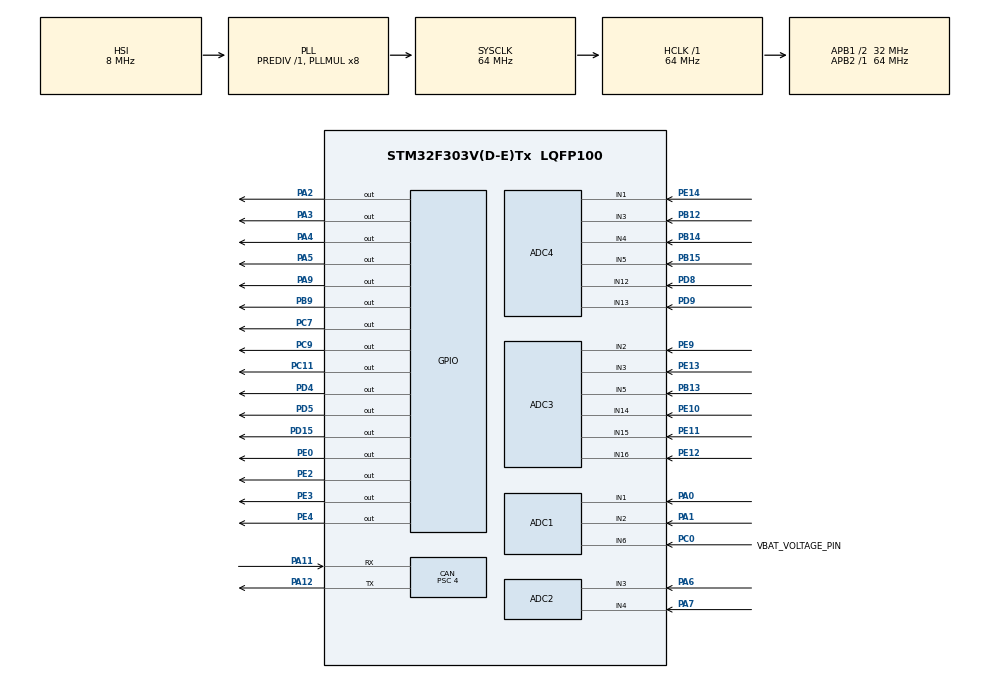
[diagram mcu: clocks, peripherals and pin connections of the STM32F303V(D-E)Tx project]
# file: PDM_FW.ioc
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ADC1.Channel-0\#ChannelRegularConversion=ADC_CHANNEL_1
ADC1.Channel-1\#ChannelRegularConversion=ADC_CHANNEL_2
ADC1.Channel-2\#ChannelRegularConversion=ADC_CHANNEL_6
ADC1.Channel-3\#ChannelRegularConversion=ADC_CHANNEL_TEMPSENSOR
ADC1.ClockPrescaler=ADC_CLOCK_SYNC_PCLK_DIV4
ADC1.ContinuousConvMode=ENABLE
ADC1.DMAContinuousRequests=ENABLE
ADC1.EnableInjectedConversion=DISABLE
ADC1.NbrOfConversion=4
ADC1.NbrOfConversionFlag=1
ADC1.Offset-0\#ChannelRegularConversion=0
ADC1.Offset-1\#ChannelRegularConversion=0
ADC1.Offset-2\#ChannelRegularConversion=0
ADC1.Offset-3\#ChannelRegularConversion=0
ADC1.OffsetNumber-0\#ChannelRegularConversion=ADC_OFFSET_NONE
ADC1.OffsetNumber-1\#ChannelRegularConversion=ADC_OFFSET_NONE
ADC1.OffsetNumber-2\#ChannelRegularConversion=ADC_OFFSET_NONE
ADC1.OffsetNumber-3\#ChannelRegularConversion=ADC_OFFSET_NONE
ADC1.Rank-0\#ChannelRegularConversion=1
ADC1.Rank-1\#ChannelRegularConversion=2
ADC1.Rank-2\#ChannelRegularConversion=3
ADC1.Rank-3\#ChannelRegularConversion=4
ADC1.SamplingTime-0\#ChannelRegularConversion=ADC_SAMPLETIME_601CYCLES_5
ADC1.SamplingTime-1\#ChannelRegularConversion=ADC_SAMPLETIME_601CYCLES_5
ADC1.SamplingTime-2\#ChannelRegularConversion=ADC_SAMPLETIME_601CYCLES_5
ADC1.SamplingTime-3\#ChannelRegularConversion=ADC_SAMPLETIME_601CYCLES_5
ADC1.master=1
ADC2.Channel-0\#ChannelRegularConversion=ADC_CHANNEL_3
ADC2.Channel-1\#ChannelRegularConversion=ADC_CHANNEL_4
ADC2.ClockPrescaler=ADC_CLOCK_SYNC_PCLK_DIV4
ADC2.ContinuousConvMode=ENABLE
ADC2.DMAContinuousRequests=ENABLE
ADC2.EnableInjectedConversion=DISABLE
ADC2.NbrOfConversion=2
ADC2.NbrOfConversionFlag=1
ADC2.Offset-0\#ChannelRegularConversion=0
ADC2.Offset-1\#ChannelRegularConversion=0
ADC2.OffsetNumber-0\#ChannelRegularConversion=ADC_OFFSET_NONE
ADC2.OffsetNumber-1\#ChannelRegularConversion=ADC_OFFSET_NONE
ADC2.Rank-0\#ChannelRegularConversion=1
ADC2.Rank-1\#ChannelRegularConversion=2
ADC2.SamplingTime-0\#ChannelRegularConversion=ADC_SAMPLETIME_601CYCLES_5
ADC2.SamplingTime-1\#ChannelRegularConversion=ADC_SAMPLETIME_601CYCLES_5
ADC3.Channel-0\#ChannelRegularConversion=ADC_CHANNEL_2
ADC3.Channel-1\#ChannelRegularConversion=ADC_CHANNEL_3
ADC3.Channel-2\#ChannelRegularConversion=ADC_CHANNEL_2
ADC3.Channel-3\#ChannelRegularConversion=ADC_CHANNEL_2
ADC3.Channel-4\#ChannelRegularConversion=ADC_CHANNEL_2
ADC3.Channel-5\#ChannelRegularConversion=ADC_CHANNEL_2
ADC3.ClockPrescaler=ADC_CLOCK_SYNC_PCLK_DIV4
ADC3.ContinuousConvMode=ENABLE
ADC3.DMAContinuousRequests=ENABLE
ADC3.EnableInjectedConversion=DISABLE
ADC3.NbrOfConversion=6
ADC3.NbrOfConversionFlag=1
ADC3.Offset-0\#ChannelRegularConversion=0
ADC3.Offset-1\#ChannelRegularConversion=0
ADC3.Offset-2\#ChannelRegularConversion=0
ADC3.Offset-3\#ChannelRegularConversion=0
ADC3.Offset-4\#ChannelRegularConversion=0
ADC3.Offset-5\#ChannelRegularConversion=0
ADC3.OffsetNumber-0\#ChannelRegularConversion=ADC_OFFSET_NONE
ADC3.OffsetNumber-1\#ChannelRegularConversion=ADC_OFFSET_NONE
ADC3.OffsetNumber-2\#ChannelRegularConversion=ADC_OFFSET_NONE
ADC3.OffsetNumber-3\#ChannelRegularConversion=ADC_OFFSET_NONE
ADC3.OffsetNumber-4\#ChannelRegularConversion=ADC_OFFSET_NONE
ADC3.OffsetNumber-5\#ChannelRegularConversion=ADC_OFFSET_NONE
ADC3.Rank-0\#ChannelRegularConversion=1
ADC3.Rank-1\#ChannelRegularConversion=2
ADC3.Rank-2\#ChannelRegularConversion=3
ADC3.Rank-3\#ChannelRegularConversion=4
ADC3.Rank-4\#ChannelRegularConversion=5
ADC3.Rank-5\#ChannelRegularConversion=6
ADC3.SamplingTime-0\#ChannelRegularConversion=ADC_SAMPLETIME_601CYCLES_5
ADC3.SamplingTime-1\#ChannelRegularConversion=ADC_SAMPLETIME_601CYCLES_5
ADC3.SamplingTime-2\#ChannelRegularConversion=ADC_SAMPLETIME_601CYCLES_5
ADC3.SamplingTime-3\#ChannelRegularConversion=ADC_SAMPLETIME_601CYCLES_5
ADC3.SamplingTime-4\#ChannelRegularConversion=ADC_SAMPLETIME_601CYCLES_5
ADC3.SamplingTime-5\#ChannelRegularConversion=ADC_SAMPLETIME_601CYCLES_5
ADC3.master=1
ADC4.Channel-0\#ChannelRegularConversion=ADC_CHANNEL_1
ADC4.Channel-1\#ChannelRegularConversion=ADC_CHANNEL_3
ADC4.Channel-2\#ChannelRegularConversion=ADC_CHANNEL_4
ADC4.Channel-3\#ChannelRegularConversion=ADC_CHANNEL_5
ADC4.Channel-4\#ChannelRegularConversion=ADC_CHANNEL_12
ADC4.Channel-5\#ChannelRegularConversion=ADC_CHANNEL_13
ADC4.ClockPrescaler=ADC_CLOCK_SYNC_PCLK_DIV4
ADC4.ContinuousConvMode=ENABLE
ADC4.DMAContinuousRequests=ENABLE
ADC4.EnableInjectedConversion=DISABLE
ADC4.NbrOfConversion=6
ADC4.NbrOfConversionFlag=1
ADC4.Offset-0\#ChannelRegularConversion=0
ADC4.Offset-1\#ChannelRegularConversion=0
ADC4.Offset-2\#ChannelRegularConversion=0
ADC4.Offset-3\#ChannelRegularConversion=0
ADC4.Offset-4\#ChannelRegularConversion=0
ADC4.Offset-5\#ChannelRegularConversion=0
ADC4.OffsetNumber-0\#ChannelRegularConversion=ADC_OFFSET_NONE
ADC4.OffsetNumber-1\#ChannelRegularConversion=ADC_OFFSET_NONE
ADC4.OffsetNumber-2\#ChannelRegularConversion=ADC_OFFSET_NONE
ADC4.OffsetNumber-3\#ChannelRegularConversion=ADC_OFFSET_NONE
ADC4.OffsetNumber-4\#ChannelRegularConversion=ADC_OFFSET_NONE
ADC4.OffsetNumber-5\#ChannelRegularConversion=ADC_OFFSET_NONE
ADC4.Rank-0\#ChannelRegularConversion=1
ADC4.Rank-1\#ChannelRegularConversion=2
ADC4.Rank-2\#ChannelRegularConversion=3
ADC4.Rank-3\#ChannelRegularConversion=4
ADC4.Rank-4\#ChannelRegularConversion=5
ADC4.Rank-5\#ChannelRegularConversion=6
ADC4.SamplingTime-0\#ChannelRegularConversion=ADC_SAMPLETIME_601CYCLES_5
ADC4.SamplingTime-1\#ChannelRegularConversion=ADC_SAMPLETIME_601CYCLES_5
ADC4.SamplingTime-2\#ChannelRegularConversion=ADC_SAMPLETIME_601CYCLES_5
ADC4.SamplingTime-3\#ChannelRegularConversion=ADC_SAMPLETIME_601CYCLES_5
ADC4.SamplingTime-4\#ChannelRegularConversion=ADC_SAMPLETIME_601CYCLES_5
ADC4.SamplingTime-5\#ChannelRegularConversion=ADC_SAMPLETIME_601CYCLES_5
CAN.BS1=CAN_BS1_13TQ
CAN.BS2=CAN_BS2_2TQ
CAN.CalculateTimeQuantum=125.0
CAN.Prescaler=4
Dma.ADC1.0.Direction=DMA_PERIPH_TO_MEMORY
Dma.ADC1.0.Instance=DMA1_Channel1
Dma.ADC1.0.MemDataAlignment=DMA_MDATAALIGN_HALFWORD
Dma.ADC1.0.MemInc=DMA_MINC_ENABLE
Dma.ADC1.0.Mode=DMA_CIRCULAR
Dma.ADC1.0.PeriphDataAlignment=DMA_PDATAALIGN_HALFWORD
Dma.ADC1.0.PeriphInc=DMA_PINC_DISABLE
Dma.ADC1.0.Priority=DMA_PRIORITY_LOW
Dma.ADC2.2.Direction=DMA_PERIPH_TO_MEMORY
Dma.ADC2.2.Instance=DMA2_Channel1
Dma.ADC2.2.MemDataAlignment=DMA_MDATAALIGN_HALFWORD
Dma.ADC2.2.MemInc=DMA_MINC_ENABLE
Dma.ADC2.2.Mode=DMA_CIRCULAR
Dma.ADC2.2.PeriphDataAlignment=DMA_PDATAALIGN_HALFWORD
Dma.ADC2.2.PeriphInc=DMA_PINC_DISABLE
Dma.ADC2.2.Priority=DMA_PRIORITY_LOW
Dma.ADC3.1.Direction=DMA_PERIPH_TO_MEMORY
Dma.ADC3.1.Instance=DMA2_Channel5
Dma.ADC3.1.MemDataAlignment=DMA_MDATAALIGN_HALFWORD
Dma.ADC3.1.MemInc=DMA_MINC_ENABLE
Dma.ADC3.1.Mode=DMA_CIRCULAR
Dma.ADC3.1.PeriphDataAlignment=DMA_PDATAALIGN_HALFWORD
Dma.ADC3.1.PeriphInc=DMA_PINC_DISABLE
Dma.ADC3.1.Priority=DMA_PRIORITY_LOW
Dma.ADC4.3.Direction=DMA_PERIPH_TO_MEMORY
Dma.ADC4.3.Instance=DMA2_Channel2
Dma.ADC4.3.MemDataAlignment=DMA_MDATAALIGN_HALFWORD
Dma.ADC4.3.MemInc=DMA_MINC_ENABLE
Dma.ADC4.3.Mode=DMA_CIRCULAR
Dma.ADC4.3.PeriphDataAlignment=DMA_PDATAALIGN_HALFWORD
Dma.ADC4.3.PeriphInc=DMA_PINC_DISABLE
Dma.ADC4.3.Priority=DMA_PRIORITY_LOW
Dma.Request0=ADC1
Dma.Request1=ADC3
Dma.Request2=ADC2
Dma.Request3=ADC4
FREERTOS.INCLUDE_vTaskDelayUntil=1
FREERTOS.Tasks01=measurementTask,0,128,StartMeasurementTask,Default,NULL,Dynamic,NULL,NULL;fuseTask,0,128,StartFuseTask,Default,NULL,Dynamic,NULL,NULL;testTask,-3,128,StartTestTask,Default,NULL,Dynamic,NULL,NULL
FREERTOS.configTOTAL_HEAP_SIZE=16384
FREERTOS.configUSE_TIMERS=1
Mcu.Family=STM32F3
Mcu.Name=STM32F303V(D-E)Tx
Mcu.Package=LQFP100
NVIC.DMA1_Channel1_IRQn=true\:5\:0\:false\:false\:true\:true\:true\:true
NVIC.DMA2_Channel1_IRQn=true\:5\:0\:false\:false\:true\:true\:true\:true
NVIC.DMA2_Channel2_IRQn=true\:5\:0\:false\:false\:true\:true\:true\:true
NVIC.DMA2_Channel5_IRQn=true\:5\:0\:false\:false\:true\:true\:true\:true
NVIC.PriorityGroup=NVIC_PRIORITYGROUP_4
NVIC.TIM1_UP_TIM16_IRQn=true\:0\:0\:false\:false\:true\:false\:false\:false
NVIC.TimeBase=TIM1_UP_TIM16_IRQn
NVIC.TimeBaseIP=TIM1
PA0.Mode=IN1-Single-Ended
PA0.Signal=ADC1_IN1
PA1.Mode=IN2-Single-Ended
PA1.Signal=ADC1_IN2
PA11.Mode=Master
PA11.Signal=CAN_RX
PA12.Mode=Master
PA12.Signal=CAN_TX
PA13.Mode=Trace_Asynchronous_SW
PA13.Signal=SYS_JTMS-SWDIO
PA14.Mode=Trace_Asynchronous_SW
PA14.Signal=SYS_JTCK-SWCLK
PA2.Signal=GPIO_Output
PA3.Signal=GPIO_Output
PA4.Signal=GPIO_Output
PA5.Signal=GPIO_Output
PA6.Mode=IN3-Single-Ended
PA6.Signal=ADC2_IN3
PA7.Mode=IN4-Single-Ended
PA7.Signal=ADC2_IN4
PA9.Signal=GPIO_Output
PB12.Mode=IN3-Single-Ended
PB12.Signal=ADC4_IN3
PB13.Mode=IN5-Single-Ended
PB13.Signal=ADC3_IN5
PB14.Mode=IN4-Single-Ended
PB14.Signal=ADC4_IN4
PB15.Mode=IN5-Single-Ended
PB15.Signal=ADC4_IN5
PB3.Mode=Trace_Asynchronous_SW
PB3.Signal=SYS_JTDO-TRACESWO
PB9.Signal=GPIO_Output
PC0.GPIO_Label=VBAT_VOLTAGE_PIN
PC0.Signal=ADCx_IN6
PC11.Signal=GPIO_Output
PC14-OSC32_IN.Mode=LSE-External-Oscillator
PC14-OSC32_IN.Signal=RCC_OSC32_IN
PC15-OSC32_OUT.Mode=LSE-External-Oscillator
PC15-OSC32_OUT.Signal=RCC_OSC32_OUT
PC7.Signal=GPIO_Output
PC9.Signal=GPIO_Output
PD15.Signal=GPIO_Output
PD4.Signal=GPIO_Output
PD5.Signal=GPIO_Output
PD8.Mode=IN12-Single-Ended
PD8.Signal=ADC4_IN12
PD9.Mode=IN13-Single-Ended
PD9.Signal=ADC4_IN13
PE0.Signal=GPIO_Output
PE10.Mode=IN14-Single-Ended
PE10.Signal=ADC3_IN14
PE11.Mode=IN15-Single-Ended
PE11.Signal=ADC3_IN15
PE12.Mode=IN16-Single-Ended
PE12.Signal=ADC3_IN16
PE13.Mode=IN3-Single-Ended
PE13.Signal=ADC3_IN3
PE14.Mode=IN1-Single-Ended
PE14.Signal=ADC4_IN1
PE2.Signal=GPIO_Output
PE3.Signal=GPIO_Output
PE4.Signal=GPIO_Output
PE9.Mode=IN2-Single-Ended
PE9.Signal=ADC3_IN2
PF0-OSC_IN.Mode=HSE-External-Oscillator
PF0-OSC_IN.Signal=RCC_OSC_IN
PF1-OSC_OUT.Mode=HSE-External-Oscillator
PF1-OSC_OUT.Signal=RCC_OSC_OUT
ProjectManager.HeapSize=0x200
ProjectManager.StackSize=0x400
ProjectManager.TargetToolchain=TrueSTUDIO
RCC.AHBFreq_Value=64000000
RCC.APB1CLKDivider=RCC_HCLK_DIV2
RCC.APB1Freq_Value=32000000
RCC.APB1TimFreq_Value=64000000
RCC.APB2Freq_Value=64000000
RCC.APB2TimFreq_Value=64000000
RCC.CortexFreq_Value=64000000
RCC.HCLKFreq_Value=64000000
RCC.HSE_VALUE=8000000
RCC.HSI_VALUE=8000000
RCC.PLLMUL=RCC_PLL_MUL8
RCC.SYSCLKFreq_VALUE=64000000
RCC.SYSCLKSourceVirtual=RCC_SYSCLKSOURCE_PLLCLK
RCC.USBFreq_Value=64000000
SH.ADCx_IN6.0=ADC1_IN6,IN6-Single-Ended
VP_ADC1_TempSens_Input.Mode=IN-TempSens
VP_FREERTOS_VS_ENABLE.Mode=Enabled
VP_SYS_VS_tim1.Mode=TIM1
board=custom

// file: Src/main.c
/* USER CODE BEGIN Header */
/**
  ******************************************************************************
  * @file           : main.c
  * @brief          : Main program body
  ******************************************************************************
  ** This notice applies to any and all portions of this file
  * that are not between comment pairs USER CODE BEGIN and
  * USER CODE END. Other portions of this file, whether
  * inserted by the user or by software development tools
  * are owned by their respective copyright owners.
  *
  * COPYRIGHT(c) 2019 STMicroelectronics
  *
  * Redistribution and use in source and binary forms, with or without modification,
  * are permitted provided that the following conditions are met:
  *   1. Redistributions of source code must retain the above copyright notice,
  *      this list of conditions and the following disclaimer.
  *   2. Redistributions in binary form must reproduce the above copyright notice,
  *      this list of conditions and the following disclaimer in the documentation
  *      and/or other materials provided with the distribution.
  *   3. Neither the name of STMicroelectronics nor the names of its contributors
  *      may be used to endorse or promote products derived from this software
  *      without specific prior written permission.
  *
  * THIS SOFTWARE IS PROVIDED BY THE COPYRIGHT HOLDERS AND CONTRIBUTORS "AS IS"
  * AND ANY EXPRESS OR IMPLIED WARRANTIES, INCLUDING, BUT NOT LIMITED TO, THE
  * IMPLIED WARRANTIES OF MERCHANTABILITY AND FITNESS FOR A PARTICULAR PURPOSE ARE
  * DISCLAIMED. IN NO EVENT SHALL THE COPYRIGHT HOLDER OR CONTRIBUTORS BE LIABLE
  * FOR ANY DIRECT, INDIRECT, INCIDENTAL, SPECIAL, EXEMPLARY, OR CONSEQUENTIAL
  * DAMAGES (INCLUDING, BUT NOT LIMITED TO, PROCUREMENT OF SUBSTITUTE GOODS OR
  * SERVICES; LOSS OF USE, DATA, OR PROFITS; OR BUSINESS INTERRUPTION) HOWEVER
  * CAUSED AND ON ANY THEORY OF LIABILITY, WHETHER IN CONTRACT, STRICT LIABILITY,
  * OR TORT (INCLUDING NEGLIGENCE OR OTHERWISE) ARISING IN ANY WAY OUT OF THE USE
  * OF THIS SOFTWARE, EVEN IF ADVISED OF THE POSSIBILITY OF SUCH DAMAGE.
  *
  ******************************************************************************
  */
/* USER CODE END Header */

#include "main.h"
#include "cmsis_os.h"

/* USER CODE BEGIN Includes */
#include "AdcDrv.h"
#include "CanDrv.h"
#include "App.h"
/* USER CODE END Includes */

ADC_HandleTypeDef hadc1;
ADC_HandleTypeDef hadc2;
ADC_HandleTypeDef hadc3;
ADC_HandleTypeDef hadc4;
DMA_HandleTypeDef hdma_adc1;
DMA_HandleTypeDef hdma_adc2;
DMA_HandleTypeDef hdma_adc3;
DMA_HandleTypeDef hdma_adc4;

CAN_HandleTypeDef hcan;

osThreadId measurementTaskHandle;
osThreadId fuseTaskHandle;
osThreadId testTaskHandle;
/* USER CODE BEGIN PV */

extern App_channel_t App_channels[CHANNEL_COUNT];

/* USER CODE END PV */

void SystemClock_Config(void);
static void MX_GPIO_Init(void);
static void MX_DMA_Init(void);
static void MX_ADC1_Init(void);
static void MX_ADC2_Init(void);
static void MX_ADC3_Init(void);
static void MX_ADC4_Init(void);
static void MX_CAN_Init(void);
void StartMeasurementTask(void const * argument);
void StartFuseTask(void const * argument);
void StartTestTask(void const * argument);

int main(void)
{

  /* MCU Configuration--------------------------------------------------------*/

  /* Reset of all peripherals, Initializes the Flash interface and the Systick. */
  HAL_Init();

  /* Configure the system clock */
  SystemClock_Config();

  /* Initialize all configured peripherals */
  MX_GPIO_Init();
  MX_DMA_Init();
  MX_ADC1_Init();
  MX_ADC2_Init();
  MX_ADC3_Init();
  MX_ADC4_Init();
  MX_CAN_Init();

  /* Create the thread(s) */
  /* definition and creation of measurementTask */
  osThreadDef(measurementTask, StartMeasurementTask, osPriorityNormal, 0, 128);
  measurementTaskHandle = osThreadCreate(osThread(measurementTask), NULL);

  /* definition and creation of fuseTask */
  osThreadDef(fuseTask, StartFuseTask, osPriorityNormal, 0, 128);
  fuseTaskHandle = osThreadCreate(osThread(fuseTask), NULL);

  /* definition and creation of testTask */
  osThreadDef(testTask, StartTestTask, osPriorityIdle, 0, 128);
  testTaskHandle = osThreadCreate(osThread(testTask), NULL);

  /* Start scheduler */
  osKernelStart();

  /* We should never get here as control is now taken by the scheduler */

  /* Infinite loop */
  while (1)
  {

  }
}

void SystemClock_Config(void)
{
  RCC_OscInitTypeDef RCC_OscInitStruct = {0};
  RCC_ClkInitTypeDef RCC_ClkInitStruct = {0};

  /**Initializes the CPU, AHB and APB busses clocks
  */
  RCC_OscInitStruct.OscillatorType = RCC_OSCILLATORTYPE_HSI;
  RCC_OscInitStruct.HSIState = RCC_HSI_ON;
  RCC_OscInitStruct.HSICalibrationValue = RCC_HSICALIBRATION_DEFAULT;
  RCC_OscInitStruct.PLL.PLLState = RCC_PLL_ON;
  RCC_OscInitStruct.PLL.PLLSource = RCC_PLLSOURCE_HSI;
  RCC_OscInitStruct.PLL.PLLMUL = RCC_PLL_MUL8;
  RCC_OscInitStruct.PLL.PREDIV = RCC_PREDIV_DIV1;
  if (HAL_RCC_OscConfig(&RCC_OscInitStruct) != HAL_OK)
  {
    Error_Handler();
  }
  /**Initializes the CPU, AHB and APB busses clocks
  */
  RCC_ClkInitStruct.ClockType = RCC_CLOCKTYPE_HCLK|RCC_CLOCKTYPE_SYSCLK
                              |RCC_CLOCKTYPE_PCLK1|RCC_CLOCKTYPE_PCLK2;
  RCC_ClkInitStruct.SYSCLKSource = RCC_SYSCLKSOURCE_PLLCLK;
  RCC_ClkInitStruct.AHBCLKDivider = RCC_SYSCLK_DIV1;
  RCC_ClkInitStruct.APB1CLKDivider = RCC_HCLK_DIV2;
  RCC_ClkInitStruct.APB2CLKDivider = RCC_HCLK_DIV1;

  if (HAL_RCC_ClockConfig(&RCC_ClkInitStruct, FLASH_LATENCY_2) != HAL_OK)
  {
    Error_Handler();
  }
}

static void MX_ADC1_Init(void)
{

  ADC_MultiModeTypeDef multimode = {0};
  ADC_ChannelConfTypeDef sConfig = {0};

  /**Common config
  */
  hadc1.Instance = ADC1;
  hadc1.Init.ClockPrescaler = ADC_CLOCK_SYNC_PCLK_DIV4;
  hadc1.Init.Resolution = ADC_RESOLUTION_12B;
  hadc1.Init.ScanConvMode = ADC_SCAN_ENABLE;
  hadc1.Init.ContinuousConvMode = ENABLE;
  hadc1.Init.DiscontinuousConvMode = DISABLE;
  hadc1.Init.ExternalTrigConvEdge = ADC_EXTERNALTRIGCONVEDGE_NONE;
  hadc1.Init.ExternalTrigConv = ADC_SOFTWARE_START;
  hadc1.Init.DataAlign = ADC_DATAALIGN_RIGHT;
  hadc1.Init.NbrOfConversion = 4;
  hadc1.Init.DMAContinuousRequests = ENABLE;
  hadc1.Init.EOCSelection = ADC_EOC_SINGLE_CONV;
  hadc1.Init.LowPowerAutoWait = DISABLE;
  hadc1.Init.Overrun = ADC_OVR_DATA_OVERWRITTEN;
  if (HAL_ADC_Init(&hadc1) != HAL_OK)
  {
    Error_Handler();
  }
  /**Configure the ADC multi-mode
  */
  multimode.Mode = ADC_MODE_INDEPENDENT;
  if (HAL_ADCEx_MultiModeConfigChannel(&hadc1, &multimode) != HAL_OK)
  {
    Error_Handler();
  }
  /**Configure Regular Channel
  */
  sConfig.Channel = ADC_CHANNEL_1;
  sConfig.Rank = ADC_REGULAR_RANK_1;
  sConfig.SingleDiff = ADC_SINGLE_ENDED;
  sConfig.SamplingTime = ADC_SAMPLETIME_601CYCLES_5;
  sConfig.OffsetNumber = ADC_OFFSET_NONE;
  sConfig.Offset = 0;
  if (HAL_ADC_ConfigChannel(&hadc1, &sConfig) != HAL_OK)
  {
    Error_Handler();
  }
  /**Configure Regular Channel
  */
  sConfig.Channel = ADC_CHANNEL_2;
  sConfig.Rank = ADC_REGULAR_RANK_2;
  if (HAL_ADC_ConfigChannel(&hadc1, &sConfig) != HAL_OK)
  {
    Error_Handler();
  }
  /**Configure Regular Channel
  */
  sConfig.Channel = ADC_CHANNEL_6;
  sConfig.Rank = ADC_REGULAR_RANK_3;
  if (HAL_ADC_ConfigChannel(&hadc1, &sConfig) != HAL_OK)
  {
    Error_Handler();
  }
  /**Configure Regular Channel
  */
  sConfig.Channel = ADC_CHANNEL_TEMPSENSOR;
  sConfig.Rank = ADC_REGULAR_RANK_4;
  if (HAL_ADC_ConfigChannel(&hadc1, &sConfig) != HAL_OK)
  {
    Error_Handler();
  }

}

static void MX_ADC2_Init(void)
{

  ADC_ChannelConfTypeDef sConfig = {0};

  /**Common config
  */
  hadc2.Instance = ADC2;
  hadc2.Init.ClockPrescaler = ADC_CLOCK_SYNC_PCLK_DIV4;
  hadc2.Init.Resolution = ADC_RESOLUTION_12B;
  hadc2.Init.ScanConvMode = ADC_SCAN_ENABLE;
  hadc2.Init.ContinuousConvMode = ENABLE;
  hadc2.Init.DiscontinuousConvMode = DISABLE;
  hadc2.Init.ExternalTrigConvEdge = ADC_EXTERNALTRIGCONVEDGE_NONE;
  hadc2.Init.ExternalTrigConv = ADC_SOFTWARE_START;
  hadc2.Init.DataAlign = ADC_DATAALIGN_RIGHT;
  hadc2.Init.NbrOfConversion = 2;
  hadc2.Init.DMAContinuousRequests = ENABLE;
  hadc2.Init.EOCSelection = ADC_EOC_SINGLE_CONV;
  hadc2.Init.LowPowerAutoWait = DISABLE;
  hadc2.Init.Overrun = ADC_OVR_DATA_OVERWRITTEN;
  if (HAL_ADC_Init(&hadc2) != HAL_OK)
  {
    Error_Handler();
  }
  /**Configure Regular Channel
  */
  sConfig.Channel = ADC_CHANNEL_3;
  sConfig.Rank = ADC_REGULAR_RANK_1;
  sConfig.SingleDiff = ADC_SINGLE_ENDED;
  sConfig.SamplingTime = ADC_SAMPLETIME_601CYCLES_5;
  sConfig.OffsetNumber = ADC_OFFSET_NONE;
  sConfig.Offset = 0;
  if (HAL_ADC_ConfigChannel(&hadc2, &sConfig) != HAL_OK)
  {
    Error_Handler();
  }
  /**Configure Regular Channel
  */
  sConfig.Channel = ADC_CHANNEL_4;
  sConfig.Rank = ADC_REGULAR_RANK_2;
  if (HAL_ADC_ConfigChannel(&hadc2, &sConfig) != HAL_OK)
  {
    Error_Handler();
  }

}

static void MX_ADC3_Init(void)
{

  ADC_MultiModeTypeDef multimode = {0};
  ADC_ChannelConfTypeDef sConfig = {0};

  /**Common config
  */
  hadc3.Instance = ADC3;
  hadc3.Init.ClockPrescaler = ADC_CLOCK_SYNC_PCLK_DIV4;
  hadc3.Init.Resolution = ADC_RESOLUTION_12B;
  hadc3.Init.ScanConvMode = ADC_SCAN_ENABLE;
  hadc3.Init.ContinuousConvMode = ENABLE;
  hadc3.Init.DiscontinuousConvMode = DISABLE;
  hadc3.Init.ExternalTrigConvEdge = ADC_EXTERNALTRIGCONVEDGE_NONE;
  hadc3.Init.ExternalTrigConv = ADC_SOFTWARE_START;
  hadc3.Init.DataAlign = ADC_DATAALIGN_RIGHT;
  hadc3.Init.NbrOfConversion = 6;
  hadc3.Init.DMAContinuousRequests = ENABLE;
  hadc3.Init.EOCSelection = ADC_EOC_SINGLE_CONV;
  hadc3.Init.LowPowerAutoWait = DISABLE;
  hadc3.Init.Overrun = ADC_OVR_DATA_OVERWRITTEN;
  if (HAL_ADC_Init(&hadc3) != HAL_OK)
  {
    Error_Handler();
  }
  /**Configure the ADC multi-mode
  */
  multimode.Mode = ADC_MODE_INDEPENDENT;
  if (HAL_ADCEx_MultiModeConfigChannel(&hadc3, &multimode) != HAL_OK)
  {
    Error_Handler();
  }
  /**Configure Regular Channel
  */
  sConfig.Channel = ADC_CHANNEL_2;
  sConfig.Rank = ADC_REGULAR_RANK_1;
  sConfig.SingleDiff = ADC_SINGLE_ENDED;
  sConfig.SamplingTime = ADC_SAMPLETIME_601CYCLES_5;
  sConfig.OffsetNumber = ADC_OFFSET_NONE;
  sConfig.Offset = 0;
  if (HAL_ADC_ConfigChannel(&hadc3, &sConfig) != HAL_OK)
  {
    Error_Handler();
  }
  /**Configure Regular Channel
  */
  sConfig.Channel = ADC_CHANNEL_3;
  sConfig.Rank = ADC_REGULAR_RANK_2;
  if (HAL_ADC_ConfigChannel(&hadc3, &sConfig) != HAL_OK)
  {
    Error_Handler();
  }
  /**Configure Regular Channel
  */
  sConfig.Channel = ADC_CHANNEL_2;
  sConfig.Rank = ADC_REGULAR_RANK_3;
  if (HAL_ADC_ConfigChannel(&hadc3, &sConfig) != HAL_OK)
  {
    Error_Handler();
  }
  /**Configure Regular Channel
  */
  sConfig.Rank = ADC_REGULAR_RANK_4;
  if (HAL_ADC_ConfigChannel(&hadc3, &sConfig) != HAL_OK)
  {
    Error_Handler();
  }
  /**Configure Regular Channel
  */
  sConfig.Rank = ADC_REGULAR_RANK_5;
  if (HAL_ADC_ConfigChannel(&hadc3, &sConfig) != HAL_OK)
  {
    Error_Handler();
  }
  /**Configure Regular Channel
  */
  sConfig.Rank = ADC_REGULAR_RANK_6;
  if (HAL_ADC_ConfigChannel(&hadc3, &sConfig) != HAL_OK)
  {
    Error_Handler();
  }

}

static void MX_ADC4_Init(void)
{

  ADC_ChannelConfTypeDef sConfig = {0};

  /**Common config
  */
  hadc4.Instance = ADC4;
  hadc4.Init.ClockPrescaler = ADC_CLOCK_SYNC_PCLK_DIV4;
  hadc4.Init.Resolution = ADC_RESOLUTION_12B;
  hadc4.Init.ScanConvMode = ADC_SCAN_ENABLE;
  hadc4.Init.ContinuousConvMode = ENABLE;
  hadc4.Init.DiscontinuousConvMode = DISABLE;
  hadc4.Init.ExternalTrigConvEdge = ADC_EXTERNALTRIGCONVEDGE_NONE;
  hadc4.Init.ExternalTrigConv = ADC_SOFTWARE_START;
  hadc4.Init.DataAlign = ADC_DATAALIGN_RIGHT;
  hadc4.Init.NbrOfConversion = 6;
  hadc4.Init.DMAContinuousRequests = ENABLE;
  hadc4.Init.EOCSelection = ADC_EOC_SINGLE_CONV;
  hadc4.Init.LowPowerAutoWait = DISABLE;
  hadc4.Init.Overrun = ADC_OVR_DATA_OVERWRITTEN;
  if (HAL_ADC_Init(&hadc4) != HAL_OK)
  {
    Error_Handler();
  }
  /**Configure Regular Channel
  */
  sConfig.Channel = ADC_CHANNEL_1;
  sConfig.Rank = ADC_REGULAR_RANK_1;
  sConfig.SingleDiff = ADC_SINGLE_ENDED;
  sConfig.SamplingTime = ADC_SAMPLETIME_601CYCLES_5;
  sConfig.OffsetNumber = ADC_OFFSET_NONE;
  sConfig.Offset = 0;
  if (HAL_ADC_ConfigChannel(&hadc4, &sConfig) != HAL_OK)
  {
    Error_Handler();
  }
  /**Configure Regular Channel
  */
  sConfig.Channel = ADC_CHANNEL_3;
  sConfig.Rank = ADC_REGULAR_RANK_2;
  if (HAL_ADC_ConfigChannel(&hadc4, &sConfig) != HAL_OK)
  {
    Error_Handler();
  }
  /**Configure Regular Channel
  */
  sConfig.Channel = ADC_CHANNEL_4;
  sConfig.Rank = ADC_REGULAR_RANK_3;
  if (HAL_ADC_ConfigChannel(&hadc4, &sConfig) != HAL_OK)
  {
    Error_Handler();
  }
  /**Configure Regular Channel
  */
  sConfig.Channel = ADC_CHANNEL_5;
  sConfig.Rank = ADC_REGULAR_RANK_4;
  if (HAL_ADC_ConfigChannel(&hadc4, &sConfig) != HAL_OK)
  {
    Error_Handler();
  }
  /**Configure Regular Channel
  */
  sConfig.Channel = ADC_CHANNEL_12;
  sConfig.Rank = ADC_REGULAR_RANK_5;
  if (HAL_ADC_ConfigChannel(&hadc4, &sConfig) != HAL_OK)
  {
    Error_Handler();
  }
  /**Configure Regular Channel
  */
  sConfig.Channel = ADC_CHANNEL_13;
  sConfig.Rank = ADC_REGULAR_RANK_6;
  if (HAL_ADC_ConfigChannel(&hadc4, &sConfig) != HAL_OK)
  {
    Error_Handler();
  }

}

static void MX_CAN_Init(void)
{

  hcan.Instance = CAN;
  hcan.Init.Prescaler = 4;
  hcan.Init.Mode = CAN_MODE_NORMAL;
  hcan.Init.SyncJumpWidth = CAN_SJW_1TQ;
  hcan.Init.TimeSeg1 = CAN_BS1_13TQ;
  hcan.Init.TimeSeg2 = CAN_BS2_2TQ;
  hcan.Init.TimeTriggeredMode = DISABLE;
  hcan.Init.AutoBusOff = DISABLE;
  hcan.Init.AutoWakeUp = DISABLE;
  hcan.Init.AutoRetransmission = DISABLE;
  hcan.Init.ReceiveFifoLocked = DISABLE;
  hcan.Init.TransmitFifoPriority = DISABLE;
  if (HAL_CAN_Init(&hcan) != HAL_OK)
  {
    Error_Handler();
  }

}

static void MX_DMA_Init(void)
{
  /* DMA controller clock enable */
  __HAL_RCC_DMA1_CLK_ENABLE();
  __HAL_RCC_DMA2_CLK_ENABLE();

  /* DMA interrupt init */
  /* DMA1_Channel1_IRQn interrupt configuration */
  HAL_NVIC_SetPriority(DMA1_Channel1_IRQn, 5, 0);
  HAL_NVIC_EnableIRQ(DMA1_Channel1_IRQn);
  /* DMA2_Channel1_IRQn interrupt configuration */
  HAL_NVIC_SetPriority(DMA2_Channel1_IRQn, 5, 0);
  HAL_NVIC_EnableIRQ(DMA2_Channel1_IRQn);
  /* DMA2_Channel2_IRQn interrupt configuration */
  HAL_NVIC_SetPriority(DMA2_Channel2_IRQn, 5, 0);
  HAL_NVIC_EnableIRQ(DMA2_Channel2_IRQn);
  /* DMA2_Channel5_IRQn interrupt configuration */
  HAL_NVIC_SetPriority(DMA2_Channel5_IRQn, 5, 0);
  HAL_NVIC_EnableIRQ(DMA2_Channel5_IRQn);

}

static void MX_GPIO_Init(void)
{
  GPIO_InitTypeDef GPIO_InitStruct = {0};

  /* GPIO Ports Clock Enable */
  __HAL_RCC_GPIOE_CLK_ENABLE();
  __HAL_RCC_GPIOC_CLK_ENABLE();
  __HAL_RCC_GPIOF_CLK_ENABLE();
  __HAL_RCC_GPIOA_CLK_ENABLE();
  __HAL_RCC_GPIOB_CLK_ENABLE();
  __HAL_RCC_GPIOD_CLK_ENABLE();

  /*Configure GPIO pin Output Level */
  HAL_GPIO_WritePin(GPIOE, GPIO_PIN_2|GPIO_PIN_3|GPIO_PIN_4|GPIO_PIN_0, GPIO_PIN_RESET);

  /*Configure GPIO pin Output Level */
  HAL_GPIO_WritePin(GPIOA, GPIO_PIN_2|GPIO_PIN_3|GPIO_PIN_4|GPIO_PIN_5
                          |GPIO_PIN_9, GPIO_PIN_RESET);

  /*Configure GPIO pin Output Level */
  HAL_GPIO_WritePin(GPIOD, GPIO_PIN_15|GPIO_PIN_4|GPIO_PIN_5, GPIO_PIN_RESET);

  /*Configure GPIO pin Output Level */
  HAL_GPIO_WritePin(GPIOC, GPIO_PIN_7|GPIO_PIN_9|GPIO_PIN_11, GPIO_PIN_RESET);

  /*Configure GPIO pin Output Level */
  HAL_GPIO_WritePin(GPIOB, GPIO_PIN_9, GPIO_PIN_RESET);

  /*Configure GPIO pins : PE2 PE3 PE4 PE0 */
  GPIO_InitStruct.Pin = GPIO_PIN_2|GPIO_PIN_3|GPIO_PIN_4|GPIO_PIN_0;
  GPIO_InitStruct.Mode = GPIO_MODE_OUTPUT_PP;
  GPIO_InitStruct.Pull = GPIO_NOPULL;
  GPIO_InitStruct.Speed = GPIO_SPEED_FREQ_LOW;
  HAL_GPIO_Init(GPIOE, &GPIO_InitStruct);

  /*Configure GPIO pins : PA2 PA3 PA4 PA5
                           PA9 */
  GPIO_InitStruct.Pin = GPIO_PIN_2|GPIO_PIN_3|GPIO_PIN_4|GPIO_PIN_5
                          |GPIO_PIN_9;
  GPIO_InitStruct.Mode = GPIO_MODE_OUTPUT_PP;
  GPIO_InitStruct.Pull = GPIO_NOPULL;
  GPIO_InitStruct.Speed = GPIO_SPEED_FREQ_LOW;
  HAL_GPIO_Init(GPIOA, &GPIO_InitStruct);

  /*Configure GPIO pins : PD15 PD4 PD5 */
  GPIO_InitStruct.Pin = GPIO_PIN_15|GPIO_PIN_4|GPIO_PIN_5;
  GPIO_InitStruct.Mode = GPIO_MODE_OUTPUT_PP;
  GPIO_InitStruct.Pull = GPIO_NOPULL;
  GPIO_InitStruct.Speed = GPIO_SPEED_FREQ_LOW;
  HAL_GPIO_Init(GPIOD, &GPIO_InitStruct);

  /*Configure GPIO pins : PC7 PC9 PC11 */
  GPIO_InitStruct.Pin = GPIO_PIN_7|GPIO_PIN_9|GPIO_PIN_11;
  GPIO_InitStruct.Mode = GPIO_MODE_OUTPUT_PP;
  GPIO_InitStruct.Pull = GPIO_NOPULL;
  GPIO_InitStruct.Speed = GPIO_SPEED_FREQ_LOW;
  HAL_GPIO_Init(GPIOC, &GPIO_InitStruct);

  /*Configure GPIO pin : PB9 */
  GPIO_InitStruct.Pin = GPIO_PIN_9;
  GPIO_InitStruct.Mode = GPIO_MODE_OUTPUT_PP;
  GPIO_InitStruct.Pull = GPIO_NOPULL;
  GPIO_InitStruct.Speed = GPIO_SPEED_FREQ_LOW;
  HAL_GPIO_Init(GPIOB, &GPIO_InitStruct);

}

void StartMeasurementTask(void const * argument)
{

  /* USER CODE BEGIN 5 */
  uint8_t i = 0;
  uint8_t currentsMapped[CHANNEL_COUNT] = {0};
  uint8_t batVoltageMapped = 0;
  uint8_t temperatureMapped = 0;
  uint8_t currentFrameA_data[CURRENT_FRAME_A_SIZE] = {0};
  uint8_t currentFrameB_data[CURRENT_FRAME_B_SIZE] = {0};
  uint8_t statusFrame_data[STATUS_FRAME_SIZE] = {0};
  TickType_t xLastWakeTime = xTaskGetTickCount();

  /* Initialize ADC driver */
  if (AdcDrv_init()) {
	  Error_Handler();
  }

  /* Initialize CAN driver */
  if (CanDrv_init()) {
      Error_Handler();
  }

  /* Initialize application */
  if (App_init()) {
	  Error_Handler();
  }

  /* Infinite loop */
  for(;;) {
	  /* Wait a given interval */
      osDelayUntil(&xLastWakeTime, CURRENT_FRAME_INTERVAL_MS);

      /* Read ADC channels */
      for (uint8_t channel=0; channel<CHANNEL_COUNT; channel++) {
    	  currentsMapped[channel] = AdcDrv_readCurrentMapped(channel);
      }
      batVoltageMapped = AdcDrv_readBatVoltageMapped();
      temperatureMapped = AdcDrv_readTemperatureMapped();

      /* Prepare CAN frames */
      for (i=0; i<CURRENT_FRAME_A_SIZE; i++) {
          currentFrameA_data[i] = currentsMapped[i];
      }
      for (i=0; i<CURRENT_FRAME_B_SIZE; i++) {
    	  currentFrameB_data[i] = currentsMapped[i+8];
      }
      statusFrame_data[0] = batVoltageMapped;
      statusFrame_data[1] = temperatureMapped;

      /* Send CAN frames */
      CanDrv_sendCurrentFrameA(currentFrameA_data);
      CanDrv_sendCurrentFrameB(currentFrameB_data);
      CanDrv_sendStatusFrame(statusFrame_data);
  }
  /* USER CODE END 5 */
}

void StartFuseTask(void const * argument)
{
  /* USER CODE BEGIN StartFuseTask */
  float current;

  /* Infinite loop */
  for(;;)
  {
	/* Wait a given interval */
	osDelay(FUSE_TASK_INTERVAL_MS);

	/* Read ADC channels */
	for (uint8_t ch=0; ch<CHANNEL_COUNT; ch++) {
		current = AdcDrv_readCurrent(ch);

		/* Check if fuse current is exceeded */
		if (current > App_channels[ch].fuse_current) {
			/* Turn off channel */
			App_turnOffChannel(ch);

			/* Send fuse message to CAN bus */
			CanDrv_sendFuseMessage(ch);
		}
	}
  }
  /* USER CODE END StartFuseTask */
}

void StartTestTask(void const * argument)
{
  /* USER CODE BEGIN StartTestTask */
  /* Infinite loop */
  for(;;)
  {
#ifdef TEST_MODE
	  /* Write test function here */
	  HAL_GPIO_WritePin(GPIOE,GPIO_PIN_4, GPIO_PIN_RESET);
	  *(App_channels[CH1].adc_value_ptr) = 0;
	  *(App_channels[CH2].adc_value_ptr) = 0;
	  *(App_channels[CH3].adc_value_ptr) = 0;
	  *(App_channels[CH4].adc_value_ptr) = 0;
	  *(App_channels[CH5].adc_value_ptr) = 0;
	  osDelay(3000);
	  HAL_GPIO_WritePin(GPIOE,GPIO_PIN_4, GPIO_PIN_SET);
	  *(App_channels[CH1].adc_value_ptr) = 2000;
	  *(App_channels[CH2].adc_value_ptr) = 2000;
	  *(App_channels[CH3].adc_value_ptr) = 2000;
	  *(App_channels[CH4].adc_value_ptr) = 2000;
	  *(App_channels[CH5].adc_value_ptr) = 2000;
	  osDelay(100);
#else
	  /* Terminate this task */
	  osThreadTerminate(NULL);
#endif
  }
  /* USER CODE END StartTestTask */
}

void HAL_TIM_PeriodElapsedCallback(TIM_HandleTypeDef *htim)
{
  if (htim->Instance == TIM1) {
    HAL_IncTick();
  }
}

void Error_Handler(void)
{
  /* USER CODE BEGIN Error_Handler_Debug */
  /* User can add his own implementation to report the HAL error return state */
	for(;;) {
		/* Blink the red LED indicating an error */
		HAL_GPIO_WritePin(GPIOE,GPIO_PIN_4, GPIO_PIN_SET);
		HAL_Delay(100);
		HAL_GPIO_WritePin(GPIOE,GPIO_PIN_4, GPIO_PIN_RESET);
		HAL_Delay(100);
	}
  /* USER CODE END Error_Handler_Debug */
}

/************************ (C) COPYRIGHT STMicroelectronics *****END OF FILE****/

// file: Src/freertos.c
/* USER CODE BEGIN Header */
/**
  ******************************************************************************
  * File Name          : freertos.c
  * Description        : Code for freertos applications
  ******************************************************************************
  * This notice applies to any and all portions of this file
  * that are not between comment pairs USER CODE BEGIN and
  * USER CODE END. Other portions of this file, whether
  * inserted by the user or by software development tools
  * are owned by their respective copyright owners.
  *
  * Copyright (c) 2019 STMicroelectronics International N.V.
  * All rights reserved.
  *
  * Redistribution and use in source and binary forms, with or without
  * modification, are permitted, provided that the following conditions are met:
  *
  * 1. Redistribution of source code must retain the above copyright notice,
  *    this list of conditions and the following disclaimer.
  * 2. Redistributions in binary form must reproduce the above copyright notice,
  *    this list of conditions and the following disclaimer in the documentation
  *    and/or other materials provided with the distribution.
  * 3. Neither the name of STMicroelectronics nor the names of other
  *    contributors to this software may be used to endorse or promote products
  *    derived from this software without specific written permission.
  * 4. This software, including modifications and/or derivative works of this
  *    software, must execute solely and exclusively on microcontroller or
  *    microprocessor devices manufactured by or for STMicroelectronics.
  * 5. Redistribution and use of this software other than as permitted under
  *    this license is void and will automatically terminate your rights under
  *    this license.
  *
  * THIS SOFTWARE IS PROVIDED BY STMICROELECTRONICS AND CONTRIBUTORS "AS IS"
  * AND ANY EXPRESS, IMPLIED OR STATUTORY WARRANTIES, INCLUDING, BUT NOT
  * LIMITED TO, THE IMPLIED WARRANTIES OF MERCHANTABILITY, FITNESS FOR A
  * PARTICULAR PURPOSE AND NON-INFRINGEMENT OF THIRD PARTY INTELLECTUAL PROPERTY
  * RIGHTS ARE DISCLAIMED TO THE FULLEST EXTENT PERMITTED BY LAW. IN NO EVENT
  * SHALL STMICROELECTRONICS OR CONTRIBUTORS BE LIABLE FOR ANY DIRECT, INDIRECT,
  * INCIDENTAL, SPECIAL, EXEMPLARY, OR CONSEQUENTIAL DAMAGES (INCLUDING, BUT NOT
  * LIMITED TO, PROCUREMENT OF SUBSTITUTE GOODS OR SERVICES; LOSS OF USE, DATA,
  * OR PROFITS; OR BUSINESS INTERRUPTION) HOWEVER CAUSED AND ON ANY THEORY OF
  * LIABILITY, WHETHER IN CONTRACT, STRICT LIABILITY, OR TORT (INCLUDING
  * NEGLIGENCE OR OTHERWISE) ARISING IN ANY WAY OUT OF THE USE OF THIS SOFTWARE,
  * EVEN IF ADVISED OF THE POSSIBILITY OF SUCH DAMAGE.
  *
  ******************************************************************************
  */
/* USER CODE END Header */

#include "FreeRTOS.h"
#include "task.h"
#include "main.h"
#include "cmsis_os.h"

/* USER CODE BEGIN Includes */
#include "AdcDrv.h"
#include "CanDrv.h"
#include "App.h"
/* USER CODE END Includes */

/* USER CODE BEGIN Variables */

extern App_channel_t App_channels[CHANNEL_COUNT];

/* USER CODE END Variables */
osThreadId measurementTaskHandle;
osThreadId fuseTaskHandle;
osThreadId testTaskHandle;

void StartMeasurementTask(void const * argument);
void StartFuseTask(void const * argument);
void StartTestTask(void const * argument);

void MX_FREERTOS_Init(void); /* (MISRA C 2004 rule 8.1) */

void MX_FREERTOS_Init(void) {

  /* Create the thread(s) */
  /* definition and creation of measurementTask */
  osThreadDef(measurementTask, StartMeasurementTask, osPriorityNormal, 0, 128);
  measurementTaskHandle = osThreadCreate(osThread(measurementTask), NULL);

  /* definition and creation of fuseTask */
  osThreadDef(fuseTask, StartFuseTask, osPriorityNormal, 0, 128);
  fuseTaskHandle = osThreadCreate(osThread(fuseTask), NULL);

  /* definition and creation of testTask */
  osThreadDef(testTask, StartTestTask, osPriorityIdle, 0, 128);
  testTaskHandle = osThreadCreate(osThread(testTask), NULL);

}

void StartMeasurementTask(void const * argument)
{

  /* USER CODE BEGIN StartMeasurementTask */
  uint8_t i = 0;
  uint8_t currentsMapped[CHANNEL_COUNT] = {0};
  uint8_t batVoltageMapped = 0;
  uint8_t temperatureMapped = 0;
  uint8_t currentFrameA_data[CURRENT_FRAME_A_SIZE] = {0};
  uint8_t currentFrameB_data[CURRENT_FRAME_B_SIZE] = {0};
  uint8_t statusFrame_data[STATUS_FRAME_SIZE] = {0};
  TickType_t xLastWakeTime = xTaskGetTickCount();

  /* Initialize ADC driver */
  if (AdcDrv_init()) {
	  Error_Handler();
  }

  /* Initialize CAN driver */
  if (CanDrv_init()) {
	  Error_Handler();
  }

  /* Initialize application */
  if (App_init()) {
	  Error_Handler();
  }

  /* Infinite loop */
  for(;;) {
	  /* Wait a given interval */
	  osDelayUntil(&xLastWakeTime, CURRENT_FRAME_INTERVAL_MS);

	  /* Read ADC channels */
	  for (uint8_t channel=0; channel<CHANNEL_COUNT; channel++) {
		  currentsMapped[channel] = AdcDrv_readCurrentMapped(channel);
	  }
	  batVoltageMapped = AdcDrv_readBatVoltageMapped();
	  temperatureMapped = AdcDrv_readTemperatureMapped();

	  /* Prepare CAN frames */
	  for (i=0; i<CURRENT_FRAME_A_SIZE; i++) {
		  currentFrameA_data[i] = currentsMapped[i];
	  }
	  for (i=0; i<CURRENT_FRAME_B_SIZE; i++) {
		  currentFrameB_data[i] = currentsMapped[i+8];
	  }
	  statusFrame_data[0] = batVoltageMapped;
	  statusFrame_data[1] = temperatureMapped;

	  /* Send CAN frames */
	  CanDrv_sendCurrentFrameA(currentFrameA_data);
	  CanDrv_sendCurrentFrameB(currentFrameB_data);
	  CanDrv_sendStatusFrame(statusFrame_data);
  }
  /* USER CODE END StartMeasurementTask */
}

void StartFuseTask(void const * argument)
{
  /* USER CODE BEGIN StartFuseTask */
  float current;

  /* Infinite loop */
  for(;;)
  {
	/* Wait a given interval */
	osDelay(FUSE_TASK_INTERVAL_MS);

	/* Read ADC channels */
	for (uint8_t ch=0; ch<CHANNEL_COUNT; ch++) {
		current = AdcDrv_readCurrent(ch);

		/* Check if fuse current is exceeded */
		if (current > App_channels[ch].fuse_current) {
			/* Turn off channel */
			App_turnOffChannel(ch);

			/* Send fuse message to CAN bus */
			CanDrv_sendFuseMessage(ch);
		}
	}
  }
  /* USER CODE END StartFuseTask */
}

void StartTestTask(void const * argument)
{
  /* USER CODE BEGIN StartTestTask */
  /* Infinite loop */
  for(;;)
  {
#ifdef TEST_MODE
	  /* Write test function here */
	  HAL_GPIO_WritePin(GPIOE,GPIO_PIN_4, GPIO_PIN_RESET);
	  *(App_channels[CH1].adc_value_ptr) = 0;
	  *(App_channels[CH2].adc_value_ptr) = 0;
	  *(App_channels[CH3].adc_value_ptr) = 0;
	  *(App_channels[CH4].adc_value_ptr) = 0;
	  *(App_channels[CH5].adc_value_ptr) = 0;
	  osDelay(3000);
	  HAL_GPIO_WritePin(GPIOE,GPIO_PIN_4, GPIO_PIN_SET);
	  *(App_channels[CH1].adc_value_ptr) = 4000;
	  *(App_channels[CH2].adc_value_ptr) = 4000;
	  *(App_channels[CH3].adc_value_ptr) = 4000;
	  *(App_channels[CH4].adc_value_ptr) = 4000;
	  *(App_channels[CH5].adc_value_ptr) = 4000;
	  osDelay(100);
#else
	  /* Terminate this task */
	  osThreadTerminate(NULL);
#endif
  }
  /* USER CODE END StartTestTask */
}

/************************ (C) COPYRIGHT STMicroelectronics *****END OF FILE****/
